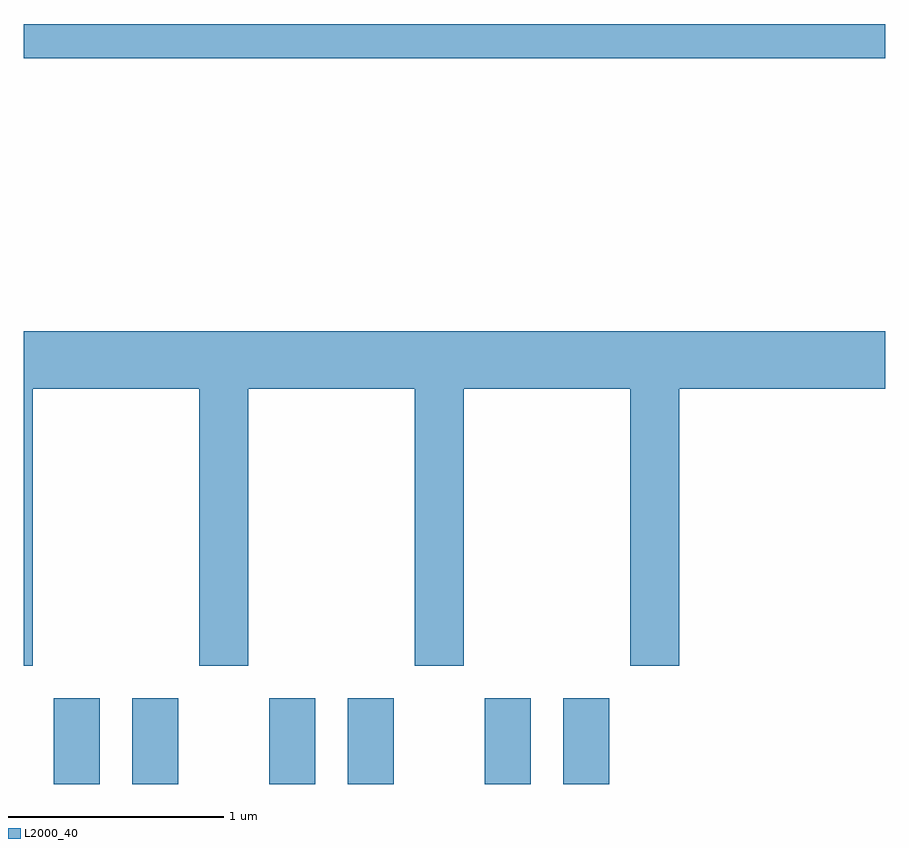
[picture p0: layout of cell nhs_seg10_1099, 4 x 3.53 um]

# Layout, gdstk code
import gdstk
lib = gdstk.Library(unit=1e-6, precision=1e-09)
def R(c, l, rs):  # rectangles x0, y0, x1, y1
    for r in rs: c.add(gdstk.rectangle(r[:2], r[2:], *l))
def P(c, l, *ps):  # polygons
    for p in ps: c.add(gdstk.Polygon(p, *l))
L2000_40 = (2000, 40)

nhs_seg10_1099 = lib.new_cell('nhs_seg10_1099')
R(nhs_seg10_1099, L2000_40, [(217.751,2116.522,217.964,2116.919), (218.116,2116.522,218.329,2116.919), (218.751,2116.522,218.964,2116.919), (219.116,2116.522,219.329,2116.919), (219.751,2116.522,219.964,2116.919), (220.116,2116.522,220.329,2116.919), (217.611,2119.891,221.611,2120.049)])
P(nhs_seg10_1099, L2000_40, [(217.654,2118.356),(218.426,2118.356),(218.426,2117.071),(218.654,2117.071),(218.654,2118.356),(219.426,2118.356),(219.426,2117.071),(219.654,2117.071),(219.654,2118.356),(220.426,2118.356),(220.426,2117.071),(220.654,2117.071),(220.654,2118.356),(221.611,2118.356),(221.611,2118.624),(217.611,2118.624),(217.611,2117.071),(217.654,2117.071)])

lib.write_gds('nhs_seg10_1099.gds')
